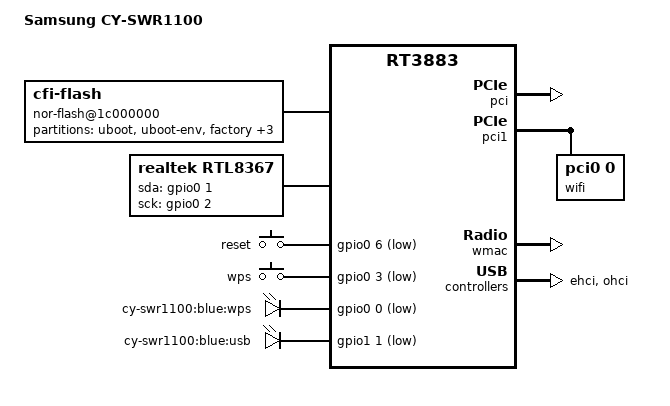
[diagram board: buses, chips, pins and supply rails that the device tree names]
/dts-v1/;

#include "rt3883.dtsi"

#include <dt-bindings/gpio/gpio.h>
#include <dt-bindings/input/input.h>

/ {
	compatible = "samsung,cy-swr1100", "ralink,rt3883-soc";
	model = "Samsung CY-SWR1100";

	aliases {
		led-boot = &led_wps;
		led-failsafe = &led_wps;
	};

	nor-flash@1c000000 {
		compatible = "cfi-flash";
		reg = <0x1c000000 0x800000>;
		bank-width = <2>;

		partitions {
			compatible = "fixed-partitions";
			#address-cells = <1>;
			#size-cells = <1>;

			partition@0 {
				label = "uboot";
				reg = <0x0 0x30000>;
				read-only;
			};

			partition@30000 {
				label = "uboot-env";
				reg = <0x30000 0x4000>;
				read-only;
			};

			factory: partition@34000 {
				label = "factory";
				reg = <0x34000 0x4000>;
				read-only;
			};

			partition@38000 {
				label = "nvram";
				reg = <0x38000 0x8000>;
				read-only;
			};

			partition@40000 {
				label = "devdata";
				reg = <0x40000 0x10000>;
			};

			partition@50000 {
				compatible = "seama";
				label = "firmware";
				reg = <0x50000 0x7b0000>;
			};
		};
	};

	rtl8367 {
		compatible = "realtek,rtl8367";
		gpio-sda = <&gpio0 1 GPIO_ACTIVE_HIGH>;
		gpio-sck = <&gpio0 2 GPIO_ACTIVE_HIGH>;
		realtek,extif0 = <1 0 1 1 1 1 1 1 2>;
	};

	gpio-keys-polled {
		compatible = "gpio-keys-polled";
		poll-interval = <100>;

		reset {
			label = "reset";
			gpios = <&gpio0 6 GPIO_ACTIVE_LOW>;
			linux,code = <KEY_RESTART>;
		};

		wps {
			label = "wps";
			gpios = <&gpio0 3 GPIO_ACTIVE_LOW>;
			linux,code = <KEY_WPS_BUTTON>;
		};
	};

	gpio-leds {
		compatible = "gpio-leds";

		led_wps: wps {
			label = "cy-swr1100:blue:wps";
			gpios = <&gpio0 0 GPIO_ACTIVE_LOW>;
		};

		usb {
			label = "cy-swr1100:blue:usb";
			gpios = <&gpio1 1 GPIO_ACTIVE_LOW>;
			trigger-sources = <&ohci_port1>, <&ehci_port1>;
			linux,default-trigger = "usbport";
		};
	};
};

&gpio1 {
	status = "okay";
};

&pinctrl {
	state_default: pinctrl0 {
		gpio {
			ralink,group = "i2c", "spi";
			ralink,function = "gpio";
		};
	};
};

&ethernet {
	port@0 {
		mediatek,fixed-link = <1000 1 1 1>;
		phy-mode = "rgmii";
	};
};

&pci {
	status = "okay";
};

&pci1 {
	status = "okay";

	wifi@0,0 {
		compatible = "pci0,0";
		reg = <0x10000 0 0 0 0>;
		ralink,5ghz = <0>;
		ralink,mtd-eeprom = <&factory 0x2000>;
	};
};

&wmac {
	status = "okay";
	ralink,2ghz = <0>;
	ralink,mtd-eeprom = <&factory 0>;
};

&ehci {
	status = "okay";
};

&ohci {
	status = "okay";
};
